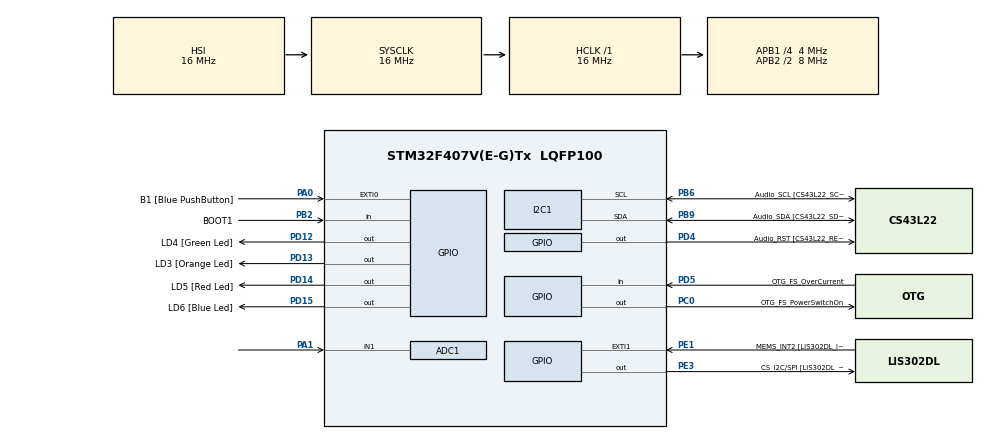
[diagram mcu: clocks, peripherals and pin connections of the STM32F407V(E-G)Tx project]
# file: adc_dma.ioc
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ADC1.Channel-0\#ChannelRegularConversion=ADC_CHANNEL_1
ADC1.ContinuousConvMode=ENABLE
ADC1.DMAContinuousRequests=ENABLE
ADC1.EOCSelection=ADC_EOC_SEQ_CONV
ADC1.InjNumberOfConversion=0
ADC1.NbrOfConversion=1
ADC1.NbrOfConversionFlag=1
ADC1.Rank-0\#ChannelRegularConversion=1
ADC1.SamplingTime-0\#ChannelRegularConversion=ADC_SAMPLETIME_3CYCLES
ADC1.ScanConvMode=DISABLE
ADC1.master=1
Dma.ADC1.0.Direction=DMA_PERIPH_TO_MEMORY
Dma.ADC1.0.FIFOMode=DMA_FIFOMODE_DISABLE
Dma.ADC1.0.Instance=DMA2_Stream0
Dma.ADC1.0.MemDataAlignment=DMA_MDATAALIGN_HALFWORD
Dma.ADC1.0.MemInc=DMA_MINC_ENABLE
Dma.ADC1.0.Mode=DMA_CIRCULAR
Dma.ADC1.0.PeriphDataAlignment=DMA_PDATAALIGN_HALFWORD
Dma.ADC1.0.PeriphInc=DMA_PINC_DISABLE
Dma.ADC1.0.Priority=DMA_PRIORITY_LOW
Dma.Request0=ADC1
Mcu.Family=STM32F4
Mcu.Name=STM32F407V(E-G)Tx
Mcu.Package=LQFP100
NVIC.DMA2_Stream0_IRQn=true\:0\:0\:false\:false\:true\:false\:true\:true
NVIC.PriorityGroup=NVIC_PRIORITYGROUP_0
PA0-WKUP.GPIO_Label=B1 [Blue PushButton]
PA0-WKUP.GPIO_ModeDefaultEXTI=GPIO_MODE_EVT_RISING
PA0-WKUP.GPIO_PuPd=GPIO_NOPULL
PA0-WKUP.Signal=GPXTI0
PA1.Signal=ADCx_IN1
PA10.GPIO_Label=OTG_FS_ID
PA10.GPIO_Mode=GPIO_MODE_AF_PP
PA10.GPIO_PuPd=GPIO_NOPULL
PA10.GPIO_Speed=GPIO_SPEED_FREQ_LOW
PA10.Signal=USB_OTG_FS_ID
PA11.GPIO_Label=OTG_FS_DM
PA11.GPIO_Mode=GPIO_MODE_AF_PP
PA11.GPIO_PuPd=GPIO_NOPULL
PA11.GPIO_Speed=GPIO_SPEED_FREQ_LOW
PA11.Signal=USB_OTG_FS_DM
PA12.GPIO_Label=OTG_FS_DP
PA12.GPIO_Mode=GPIO_MODE_AF_PP
PA12.GPIO_PuPd=GPIO_NOPULL
PA12.GPIO_Speed=GPIO_SPEED_FREQ_LOW
PA12.Signal=USB_OTG_FS_DP
PA13.GPIO_Label=SWDIO
PA13.Mode=Serial_Wire
PA13.Signal=SYS_JTMS-SWDIO
PA14.GPIO_Label=SWCLK
PA14.Mode=Serial_Wire
PA14.Signal=SYS_JTCK-SWCLK
PA4.GPIO_Label=I2S3_WS [CS43L22_LRCK]
PA4.GPIO_Mode=GPIO_MODE_AF_PP
PA4.GPIO_PuPd=GPIO_NOPULL
PA4.GPIO_Speed=GPIO_SPEED_FREQ_LOW
PA4.Signal=I2S3_WS
PA5.GPIO_Label=SPI1_SCK [LIS302DL_SCL/SPC]
PA5.GPIO_Mode=GPIO_MODE_AF_PP
PA5.GPIO_PuPd=GPIO_NOPULL
PA5.GPIO_Speed=GPIO_SPEED_FREQ_LOW
PA5.Signal=SPI1_SCK
PA6.GPIO_Label=SPI1_MISO [LIS302DL_SDO]
PA6.GPIO_Mode=GPIO_MODE_AF_PP
PA6.GPIO_PuPd=GPIO_NOPULL
PA6.GPIO_Speed=GPIO_SPEED_FREQ_LOW
PA6.Signal=SPI1_MISO
PA7.GPIO_Label=SPI1_MOSI [LIS302DL_SDA/SDI/SDO]
PA7.GPIO_Mode=GPIO_MODE_AF_PP
PA7.GPIO_PuPd=GPIO_NOPULL
PA7.GPIO_Speed=GPIO_SPEED_FREQ_LOW
PA7.Signal=SPI1_MOSI
PA9.GPIO_Label=VBUS_FS
PA9.GPIO_Mode=GPIO_MODE_INPUT
PA9.GPIO_PuPd=GPIO_NOPULL
PA9.Signal=USB_OTG_FS_VBUS
PB10.GPIO_Label=CLK_IN [MP45DT02_CLK]
PB10.GPIO_Mode=GPIO_MODE_AF_PP
PB10.GPIO_PuPd=GPIO_NOPULL
PB10.GPIO_Speed=GPIO_SPEED_FREQ_LOW
PB10.Signal=I2S2_CK
PB2.GPIO_Label=BOOT1
PB2.GPIO_Mode=GPIO_MODE_INPUT
PB2.GPIO_PuPd=GPIO_NOPULL
PB2.Signal=GPIO_Input
PB3.GPIO_Label=SWO
PB3.Signal=SYS_JTDO-SWO
PB6.GPIO_Label=Audio_SCL [CS43L22_SCL]
PB6.GPIO_Mode=GPIO_MODE_AF_OD
PB6.GPIO_Pu=GPIO_PULLUP
PB6.GPIO_PuPd=GPIO_NOPULL
PB6.GPIO_Speed=GPIO_SPEED_FREQ_LOW
PB6.Mode=I2C
PB6.Signal=I2C1_SCL
PB9.GPIO_Label=Audio_SDA [CS43L22_SDA]
PB9.GPIO_Mode=GPIO_MODE_AF_OD
PB9.GPIO_Pu=GPIO_PULLUP
PB9.GPIO_PuPd=GPIO_NOPULL
PB9.GPIO_Speed=GPIO_SPEED_FREQ_LOW
PB9.Mode=I2C
PB9.Signal=I2C1_SDA
PC0.GPIO_Label=OTG_FS_PowerSwitchOn
PC0.GPIO_PuPd=GPIO_NOPULL
PC0.GPIO_Speed=GPIO_SPEED_FREQ_LOW
PC0.PinState=GPIO_PIN_SET
PC0.Signal=GPIO_Output
PC10.GPIO_Label=I2S3_SCK [CS43L22_SCLK]
PC10.GPIO_Mode=GPIO_MODE_AF_PP
PC10.GPIO_PuPd=GPIO_NOPULL
PC10.GPIO_Speed=GPIO_SPEED_FREQ_LOW
PC10.Signal=I2S3_CK
PC12.GPIO_Label=I2S3_SD [CS43L22_SDIN]
PC12.GPIO_Mode=GPIO_MODE_AF_PP
PC12.GPIO_PuPd=GPIO_NOPULL
PC12.GPIO_Speed=GPIO_SPEED_FREQ_LOW
PC12.Signal=I2S3_SD
PC14-OSC32_IN.GPIO_Label=PC14-OSC32_IN
PC14-OSC32_IN.Mode=LSE-External-Oscillator
PC14-OSC32_IN.Signal=RCC_OSC32_IN
PC15-OSC32_OUT.GPIO_Label=PC15-OSC32_OUT
PC15-OSC32_OUT.Mode=LSE-External-Oscillator
PC15-OSC32_OUT.Signal=RCC_OSC32_OUT
PC3.GPIO_Label=PDM_OUT [MP45DT02_DOUT]
PC3.GPIO_Mode=GPIO_MODE_AF_PP
PC3.GPIO_PuPd=GPIO_NOPULL
PC3.GPIO_Speed=GPIO_SPEED_FREQ_LOW
PC3.Signal=I2S2_SD
PC7.GPIO_Label=I2S3_MCK [CS43L22_MCLK]
PC7.GPIO_Mode=GPIO_MODE_AF_PP
PC7.GPIO_PuPd=GPIO_NOPULL
PC7.GPIO_Speed=GPIO_SPEED_FREQ_LOW
PC7.Signal=I2S3_MCK
PD12.GPIO_Label=LD4 [Green Led]
PD12.GPIO_PuPd=GPIO_NOPULL
PD12.GPIO_Speed=GPIO_SPEED_FREQ_LOW
PD12.Signal=GPIO_Output
PD13.GPIO_Label=LD3 [Orange Led]
PD13.GPIO_PuPd=GPIO_NOPULL
PD13.GPIO_Speed=GPIO_SPEED_FREQ_LOW
PD13.Signal=GPIO_Output
PD14.GPIO_Label=LD5 [Red Led]
PD14.GPIO_PuPd=GPIO_NOPULL
PD14.GPIO_Speed=GPIO_SPEED_FREQ_LOW
PD14.Signal=GPIO_Output
PD15.GPIO_Label=LD6 [Blue Led]
PD15.GPIO_PuPd=GPIO_NOPULL
PD15.GPIO_Speed=GPIO_SPEED_FREQ_LOW
PD15.Signal=GPIO_Output
PD4.GPIO_Label=Audio_RST [CS43L22_RESET]
PD4.GPIO_PuPd=GPIO_NOPULL
PD4.GPIO_Speed=GPIO_SPEED_FREQ_LOW
PD4.Signal=GPIO_Output
PD5.GPIO_Label=OTG_FS_OverCurrent
PD5.GPIO_Mode=GPIO_MODE_INPUT
PD5.GPIO_PuPd=GPIO_NOPULL
PD5.Signal=GPIO_Input
PE1.GPIO_Label=MEMS_INT2 [LIS302DL_INT2]
PE1.GPIO_ModeDefaultEXTI=GPIO_MODE_EVT_RISING
PE1.GPIO_PuPd=GPIO_NOPULL
PE1.Signal=GPXTI1
PE3.GPIO_Label=CS_I2C/SPI [LIS302DL_CS_I2C/SPI]
PE3.GPIO_PuPd=GPIO_NOPULL
PE3.GPIO_Speed=GPIO_SPEED_FREQ_LOW
PE3.Signal=GPIO_Output
PH0-OSC_IN.GPIO_Label=PH0-OSC_IN
PH0-OSC_IN.Mode=HSE-External-Oscillator
PH0-OSC_IN.Signal=RCC_OSC_IN
PH1-OSC_OUT.GPIO_Label=PH1-OSC_OUT
PH1-OSC_OUT.Mode=HSE-External-Oscillator
PH1-OSC_OUT.Signal=RCC_OSC_OUT
ProjectManager.HeapSize=0x200
ProjectManager.StackSize=0x400
ProjectManager.TargetToolchain=STM32CubeIDE
RCC.48MHZClocksFreq_Value=48000000
RCC.AHBFreq_Value=16000000
RCC.APB1CLKDivider=RCC_HCLK_DIV4
RCC.APB1Freq_Value=4000000
RCC.APB1TimFreq_Value=8000000
RCC.APB2CLKDivider=RCC_HCLK_DIV2
RCC.APB2Freq_Value=8000000
RCC.APB2TimFreq_Value=16000000
RCC.CortexFreq_Value=16000000
RCC.HCLKFreq_Value=16000000
RCC.HSE_VALUE=8000000
RCC.HSI_VALUE=16000000
RCC.PLLM=8
RCC.PLLN=336
RCC.PLLQ=7
RCC.PLLSourceVirtual=RCC_PLLSOURCE_HSE
RCC.SYSCLKFreq_VALUE=16000000
RCC.VCOOutputFreq_Value=336000000
SH.ADCx_IN1.0=ADC1_IN1,IN1
board=STM32F407G-DISC1

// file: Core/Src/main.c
/* USER CODE BEGIN Header */
/**
 ******************************************************************************
 * @file           : main.c
 * @brief          : Main program body
 ******************************************************************************
 * @attention
 *
 * <h2><center>&copy; Copyright (c) 2022 STMicroelectronics.
 * All rights reserved.</center></h2>
 *
 * This software component is licensed by ST under Ultimate Liberty license
 * SLA0044, the "License"; You may not use this file except in compliance with
 * the License. You may obtain a copy of the License at:
 *                             www.st.com/SLA0044
 *
 ******************************************************************************
 */
/* USER CODE END Header */
#include "main.h"

/* USER CODE BEGIN Includes */
#include <string.h>
#include <stdio.h>
/* USER CODE END Includes */

/* USER CODE BEGIN PM */
#define ADC_BUF_LEN 4096
/* USER CODE END PM */

 ADC_HandleTypeDef hadc1;
DMA_HandleTypeDef hdma_adc1;

I2C_HandleTypeDef hi2c1;

/* USER CODE BEGIN PV */
uint16_t adc_buf[ADC_BUF_LEN];
uint16_t adc_value = 0;
/* USER CODE END PV */

void SystemClock_Config(void);
static void MX_GPIO_Init(void);
static void MX_I2C1_Init(void);
static void MX_DMA_Init(void);
static void MX_ADC1_Init(void);

int main(void)
{

  /* MCU Configuration--------------------------------------------------------*/

  /* Reset of all peripherals, Initializes the Flash interface and the Systick. */
  HAL_Init();

  /* Configure the system clock */
  SystemClock_Config();

  /* Initialize all configured peripherals */
  MX_GPIO_Init();
  MX_I2C1_Init();
  MX_DMA_Init();
  MX_ADC1_Init();
  /* USER CODE BEGIN 2 */
	LCD_Handle_t lcd_handle;
	lcd_handle.Slave_address = 0x4E;
	lcd_handle.i2c_handle = &hi2c1;
	lcd_handle.bg = 1;
	lcd_init(&lcd_handle);

	HAL_ADC_Start_DMA(&hadc1, (uint32_t*)adc_buf, ADC_BUF_LEN);

	char msg[30];
  /* USER CODE END 2 */

  /* Infinite loop */
  /* USER CODE BEGIN WHILE */
	HAL_ADC_Start(&hadc1);

	while (1)
	{
    /* USER CODE END WHILE */

    /* USER CODE BEGIN 3 */

		sprintf(msg, "V1: %hu ", adc_value);
		printText(&lcd_handle, msg, 1);
		HAL_Delay(10);
	}
  /* USER CODE END 3 */
}

void SystemClock_Config(void)
{
  RCC_OscInitTypeDef RCC_OscInitStruct = {0};
  RCC_ClkInitTypeDef RCC_ClkInitStruct = {0};

  /** Configure the main internal regulator output voltage
  */
  __HAL_RCC_PWR_CLK_ENABLE();
  __HAL_PWR_VOLTAGESCALING_CONFIG(PWR_REGULATOR_VOLTAGE_SCALE1);

  /** Initializes the RCC Oscillators according to the specified parameters
  * in the RCC_OscInitTypeDef structure.
  */
  RCC_OscInitStruct.OscillatorType = RCC_OSCILLATORTYPE_HSI;
  RCC_OscInitStruct.HSIState = RCC_HSI_ON;
  RCC_OscInitStruct.HSICalibrationValue = RCC_HSICALIBRATION_DEFAULT;
  RCC_OscInitStruct.PLL.PLLState = RCC_PLL_NONE;
  if (HAL_RCC_OscConfig(&RCC_OscInitStruct) != HAL_OK)
  {
    Error_Handler();
  }

  /** Initializes the CPU, AHB and APB buses clocks
  */
  RCC_ClkInitStruct.ClockType = RCC_CLOCKTYPE_HCLK|RCC_CLOCKTYPE_SYSCLK
                              |RCC_CLOCKTYPE_PCLK1|RCC_CLOCKTYPE_PCLK2;
  RCC_ClkInitStruct.SYSCLKSource = RCC_SYSCLKSOURCE_HSI;
  RCC_ClkInitStruct.AHBCLKDivider = RCC_SYSCLK_DIV1;
  RCC_ClkInitStruct.APB1CLKDivider = RCC_HCLK_DIV4;
  RCC_ClkInitStruct.APB2CLKDivider = RCC_HCLK_DIV2;

  if (HAL_RCC_ClockConfig(&RCC_ClkInitStruct, FLASH_LATENCY_0) != HAL_OK)
  {
    Error_Handler();
  }
}

static void MX_ADC1_Init(void)
{

  ADC_ChannelConfTypeDef sConfig = {0};

  /** Configure the global features of the ADC (Clock, Resolution, Data Alignment and number of conversion)
  */
  hadc1.Instance = ADC1;
  hadc1.Init.ClockPrescaler = ADC_CLOCK_SYNC_PCLK_DIV2;
  hadc1.Init.Resolution = ADC_RESOLUTION_12B;
  hadc1.Init.ScanConvMode = DISABLE;
  hadc1.Init.ContinuousConvMode = ENABLE;
  hadc1.Init.DiscontinuousConvMode = DISABLE;
  hadc1.Init.ExternalTrigConvEdge = ADC_EXTERNALTRIGCONVEDGE_NONE;
  hadc1.Init.ExternalTrigConv = ADC_SOFTWARE_START;
  hadc1.Init.DataAlign = ADC_DATAALIGN_RIGHT;
  hadc1.Init.NbrOfConversion = 1;
  hadc1.Init.DMAContinuousRequests = ENABLE;
  hadc1.Init.EOCSelection = ADC_EOC_SEQ_CONV;
  if (HAL_ADC_Init(&hadc1) != HAL_OK)
  {
    Error_Handler();
  }

  /** Configure for the selected ADC regular channel its corresponding rank in the sequencer and its sample time.
  */
  sConfig.Channel = ADC_CHANNEL_1;
  sConfig.Rank = 1;
  sConfig.SamplingTime = ADC_SAMPLETIME_3CYCLES;
  if (HAL_ADC_ConfigChannel(&hadc1, &sConfig) != HAL_OK)
  {
    Error_Handler();
  }

}

static void MX_I2C1_Init(void)
{

  hi2c1.Instance = I2C1;
  hi2c1.Init.ClockSpeed = 100000;
  hi2c1.Init.DutyCycle = I2C_DUTYCYCLE_2;
  hi2c1.Init.OwnAddress1 = 0;
  hi2c1.Init.AddressingMode = I2C_ADDRESSINGMODE_7BIT;
  hi2c1.Init.DualAddressMode = I2C_DUALADDRESS_DISABLE;
  hi2c1.Init.OwnAddress2 = 0;
  hi2c1.Init.GeneralCallMode = I2C_GENERALCALL_DISABLE;
  hi2c1.Init.NoStretchMode = I2C_NOSTRETCH_DISABLE;
  if (HAL_I2C_Init(&hi2c1) != HAL_OK)
  {
    Error_Handler();
  }

}

static void MX_DMA_Init(void)
{

  /* DMA controller clock enable */
  __HAL_RCC_DMA2_CLK_ENABLE();

  /* DMA interrupt init */
  /* DMA2_Stream0_IRQn interrupt configuration */
  HAL_NVIC_SetPriority(DMA2_Stream0_IRQn, 0, 0);
  HAL_NVIC_EnableIRQ(DMA2_Stream0_IRQn);

}

static void MX_GPIO_Init(void)
{
  GPIO_InitTypeDef GPIO_InitStruct = {0};

  /* GPIO Ports Clock Enable */
  __HAL_RCC_GPIOE_CLK_ENABLE();
  __HAL_RCC_GPIOC_CLK_ENABLE();
  __HAL_RCC_GPIOH_CLK_ENABLE();
  __HAL_RCC_GPIOA_CLK_ENABLE();
  __HAL_RCC_GPIOB_CLK_ENABLE();
  __HAL_RCC_GPIOD_CLK_ENABLE();

  /*Configure GPIO pin Output Level */
  HAL_GPIO_WritePin(CS_I2C_SPI_GPIO_Port, CS_I2C_SPI_Pin, GPIO_PIN_RESET);

  /*Configure GPIO pin Output Level */
  HAL_GPIO_WritePin(OTG_FS_PowerSwitchOn_GPIO_Port, OTG_FS_PowerSwitchOn_Pin, GPIO_PIN_SET);

  /*Configure GPIO pin Output Level */
  HAL_GPIO_WritePin(GPIOD, LD4_Pin|LD3_Pin|LD5_Pin|LD6_Pin
                          |Audio_RST_Pin, GPIO_PIN_RESET);

  /*Configure GPIO pin : CS_I2C_SPI_Pin */
  GPIO_InitStruct.Pin = CS_I2C_SPI_Pin;
  GPIO_InitStruct.Mode = GPIO_MODE_OUTPUT_PP;
  GPIO_InitStruct.Pull = GPIO_NOPULL;
  GPIO_InitStruct.Speed = GPIO_SPEED_FREQ_LOW;
  HAL_GPIO_Init(CS_I2C_SPI_GPIO_Port, &GPIO_InitStruct);

  /*Configure GPIO pin : OTG_FS_PowerSwitchOn_Pin */
  GPIO_InitStruct.Pin = OTG_FS_PowerSwitchOn_Pin;
  GPIO_InitStruct.Mode = GPIO_MODE_OUTPUT_PP;
  GPIO_InitStruct.Pull = GPIO_NOPULL;
  GPIO_InitStruct.Speed = GPIO_SPEED_FREQ_LOW;
  HAL_GPIO_Init(OTG_FS_PowerSwitchOn_GPIO_Port, &GPIO_InitStruct);

  /*Configure GPIO pin : PDM_OUT_Pin */
  GPIO_InitStruct.Pin = PDM_OUT_Pin;
  GPIO_InitStruct.Mode = GPIO_MODE_AF_PP;
  GPIO_InitStruct.Pull = GPIO_NOPULL;
  GPIO_InitStruct.Speed = GPIO_SPEED_FREQ_LOW;
  GPIO_InitStruct.Alternate = GPIO_AF5_SPI2;
  HAL_GPIO_Init(PDM_OUT_GPIO_Port, &GPIO_InitStruct);

  /*Configure GPIO pin : B1_Pin */
  GPIO_InitStruct.Pin = B1_Pin;
  GPIO_InitStruct.Mode = GPIO_MODE_EVT_RISING;
  GPIO_InitStruct.Pull = GPIO_NOPULL;
  HAL_GPIO_Init(B1_GPIO_Port, &GPIO_InitStruct);

  /*Configure GPIO pin : I2S3_WS_Pin */
  GPIO_InitStruct.Pin = I2S3_WS_Pin;
  GPIO_InitStruct.Mode = GPIO_MODE_AF_PP;
  GPIO_InitStruct.Pull = GPIO_NOPULL;
  GPIO_InitStruct.Speed = GPIO_SPEED_FREQ_LOW;
  GPIO_InitStruct.Alternate = GPIO_AF6_SPI3;
  HAL_GPIO_Init(I2S3_WS_GPIO_Port, &GPIO_InitStruct);

  /*Configure GPIO pins : SPI1_SCK_Pin SPI1_MISO_Pin SPI1_MOSI_Pin */
  GPIO_InitStruct.Pin = SPI1_SCK_Pin|SPI1_MISO_Pin|SPI1_MOSI_Pin;
  GPIO_InitStruct.Mode = GPIO_MODE_AF_PP;
  GPIO_InitStruct.Pull = GPIO_NOPULL;
  GPIO_InitStruct.Speed = GPIO_SPEED_FREQ_LOW;
  GPIO_InitStruct.Alternate = GPIO_AF5_SPI1;
  HAL_GPIO_Init(GPIOA, &GPIO_InitStruct);

  /*Configure GPIO pin : BOOT1_Pin */
  GPIO_InitStruct.Pin = BOOT1_Pin;
  GPIO_InitStruct.Mode = GPIO_MODE_INPUT;
  GPIO_InitStruct.Pull = GPIO_NOPULL;
  HAL_GPIO_Init(BOOT1_GPIO_Port, &GPIO_InitStruct);

  /*Configure GPIO pin : CLK_IN_Pin */
  GPIO_InitStruct.Pin = CLK_IN_Pin;
  GPIO_InitStruct.Mode = GPIO_MODE_AF_PP;
  GPIO_InitStruct.Pull = GPIO_NOPULL;
  GPIO_InitStruct.Speed = GPIO_SPEED_FREQ_LOW;
  GPIO_InitStruct.Alternate = GPIO_AF5_SPI2;
  HAL_GPIO_Init(CLK_IN_GPIO_Port, &GPIO_InitStruct);

  /*Configure GPIO pins : LD4_Pin LD3_Pin LD5_Pin LD6_Pin
                           Audio_RST_Pin */
  GPIO_InitStruct.Pin = LD4_Pin|LD3_Pin|LD5_Pin|LD6_Pin
                          |Audio_RST_Pin;
  GPIO_InitStruct.Mode = GPIO_MODE_OUTPUT_PP;
  GPIO_InitStruct.Pull = GPIO_NOPULL;
  GPIO_InitStruct.Speed = GPIO_SPEED_FREQ_LOW;
  HAL_GPIO_Init(GPIOD, &GPIO_InitStruct);

  /*Configure GPIO pins : I2S3_MCK_Pin I2S3_SCK_Pin I2S3_SD_Pin */
  GPIO_InitStruct.Pin = I2S3_MCK_Pin|I2S3_SCK_Pin|I2S3_SD_Pin;
  GPIO_InitStruct.Mode = GPIO_MODE_AF_PP;
  GPIO_InitStruct.Pull = GPIO_NOPULL;
  GPIO_InitStruct.Speed = GPIO_SPEED_FREQ_LOW;
  GPIO_InitStruct.Alternate = GPIO_AF6_SPI3;
  HAL_GPIO_Init(GPIOC, &GPIO_InitStruct);

  /*Configure GPIO pin : VBUS_FS_Pin */
  GPIO_InitStruct.Pin = VBUS_FS_Pin;
  GPIO_InitStruct.Mode = GPIO_MODE_INPUT;
  GPIO_InitStruct.Pull = GPIO_NOPULL;
  HAL_GPIO_Init(VBUS_FS_GPIO_Port, &GPIO_InitStruct);

  /*Configure GPIO pins : OTG_FS_ID_Pin OTG_FS_DM_Pin OTG_FS_DP_Pin */
  GPIO_InitStruct.Pin = OTG_FS_ID_Pin|OTG_FS_DM_Pin|OTG_FS_DP_Pin;
  GPIO_InitStruct.Mode = GPIO_MODE_AF_PP;
  GPIO_InitStruct.Pull = GPIO_NOPULL;
  GPIO_InitStruct.Speed = GPIO_SPEED_FREQ_LOW;
  GPIO_InitStruct.Alternate = GPIO_AF10_OTG_FS;
  HAL_GPIO_Init(GPIOA, &GPIO_InitStruct);

  /*Configure GPIO pin : OTG_FS_OverCurrent_Pin */
  GPIO_InitStruct.Pin = OTG_FS_OverCurrent_Pin;
  GPIO_InitStruct.Mode = GPIO_MODE_INPUT;
  GPIO_InitStruct.Pull = GPIO_NOPULL;
  HAL_GPIO_Init(OTG_FS_OverCurrent_GPIO_Port, &GPIO_InitStruct);

  /*Configure GPIO pin : MEMS_INT2_Pin */
  GPIO_InitStruct.Pin = MEMS_INT2_Pin;
  GPIO_InitStruct.Mode = GPIO_MODE_EVT_RISING;
  GPIO_InitStruct.Pull = GPIO_NOPULL;
  HAL_GPIO_Init(MEMS_INT2_GPIO_Port, &GPIO_InitStruct);

}

/* USER CODE BEGIN 4 */
// Called when first half of buffer is filled
void HAL_ADC_ConvHalfCpltCallback(ADC_HandleTypeDef* hadc) {
  HAL_GPIO_WritePin(LD3_GPIO_Port, LD3_Pin, GPIO_PIN_SET);
}

// Called when buffer is completely filled
void HAL_ADC_ConvCpltCallback(ADC_HandleTypeDef* hadc) {
  HAL_GPIO_WritePin(LD3_GPIO_Port, LD3_Pin, GPIO_PIN_RESET);

  adc_value = 0;
  for(uint16_t i = 0; i < ADC_BUF_LEN; i++){
	  adc_value+= adc_buf[i] ;
  }
  adc_value /= ADC_BUF_LEN;

}
/* USER CODE END 4 */

void Error_Handler(void)
{
	__disable_irq();
	while (1)
	{
	}
}
